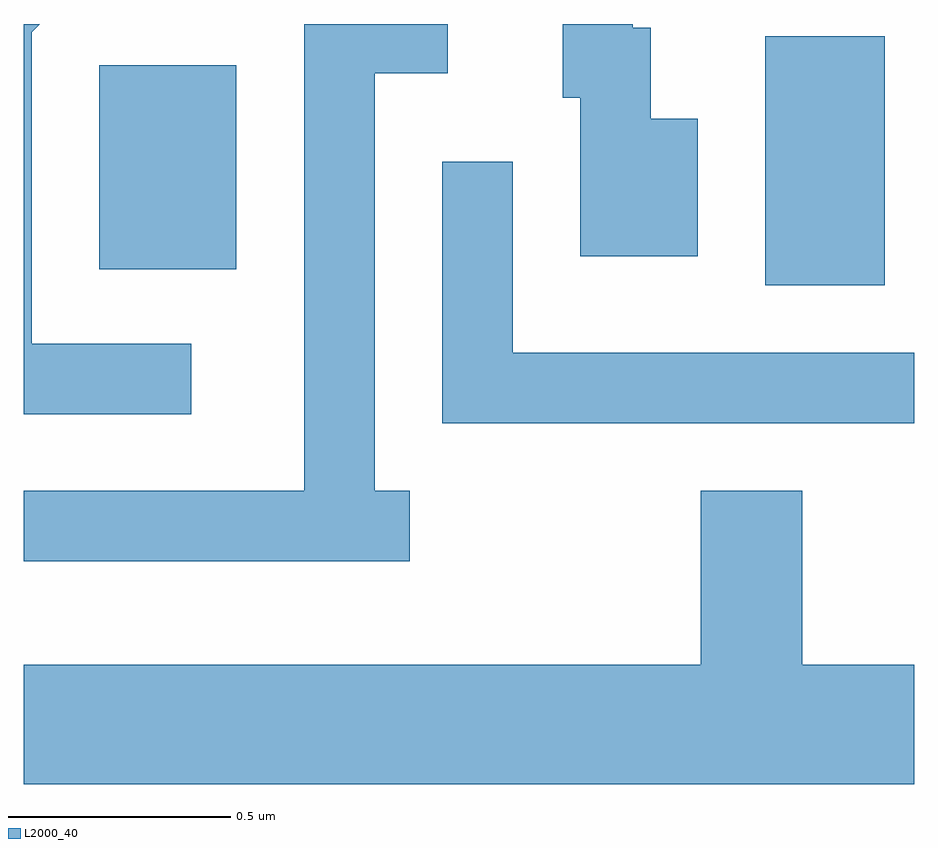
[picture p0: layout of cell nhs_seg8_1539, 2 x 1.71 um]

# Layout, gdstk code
import gdstk
lib = gdstk.Library(unit=1e-6, precision=1e-09)
def R(c, l, rs):  # rectangles x0, y0, x1, y1
    for r in rs: c.add(gdstk.rectangle(r[:2], r[2:], *l))
def P(c, l, *ps):  # polygons
    for p in ps: c.add(gdstk.Polygon(p, *l))
L2000_40 = (2000, 40)

nhs_seg8_1539 = lib.new_cell('nhs_seg8_1539')
R(nhs_seg8_1539, L2000_40, [(198.276,1839.756,198.544,1840.314), (196.781,1839.791,197.089,1840.249)])
P(nhs_seg8_1539, L2000_40, [(197.478,1839.294),(197.399,1839.294),(197.399,1840.231),(197.563,1840.231),(197.563,1840.342),(197.241,1840.342),(197.241,1839.294),(196.611,1839.294),(196.611,1839.136),(197.478,1839.136)],
  [(196.988,1839.624),(196.629,1839.624),(196.629,1840.324),(196.647,1840.342),(196.611,1840.342),(196.611,1839.466),(196.988,1839.466)],
  [(198.124,1840.129),(198.019,1840.129),(198.019,1840.334),(197.979,1840.334),(197.979,1840.342),(197.821,1840.342),(197.821,1840.176),(197.861,1840.176),(197.861,1839.821),(198.124,1839.821)],
  [(198.611,1839.604),(197.709,1839.604),(197.709,1840.033),(197.551,1840.033),(197.551,1839.446),(198.611,1839.446)],
  [(198.611,1838.904),(198.359,1838.904),(198.359,1839.294),(198.131,1839.294),(198.131,1838.904),(196.611,1838.904),(196.611,1838.636),(198.611,1838.636)])

lib.write_gds('nhs_seg8_1539.gds')
